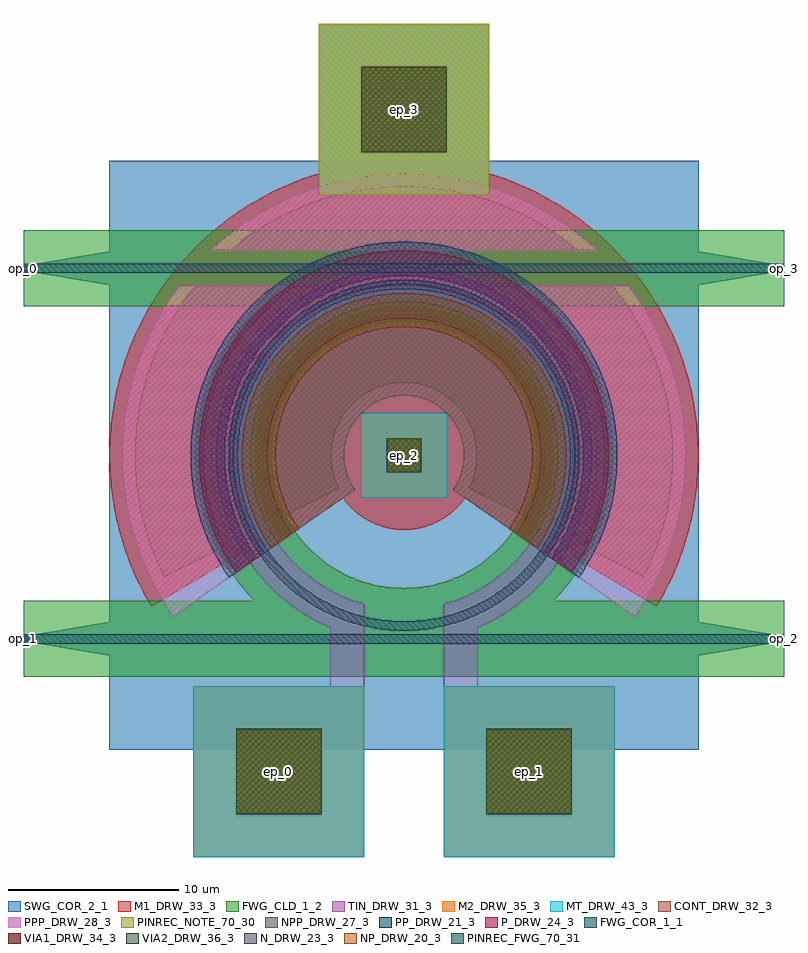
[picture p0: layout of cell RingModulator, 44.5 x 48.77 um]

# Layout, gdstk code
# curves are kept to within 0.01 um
import gdstk
lib = gdstk.Library(unit=1e-6, precision=1e-09)
def R(c, l, rs):  # rectangles x0, y0, x1, y1
    for r in rs: c.add(gdstk.rectangle(r[:2], r[2:], *l))
def P(c, l, *ps):  # polygons
    for p in ps: c.add(gdstk.Polygon(p, *l))
FWG_COR_1_1 = (1, 1)
FWG_CLD_1_2 = (1, 2)
SWG_COR_2_1 = (2, 1)
NP_DRW_20_3 = (20, 3)
PP_DRW_21_3 = (21, 3)
N_DRW_23_3 = (23, 3)
P_DRW_24_3 = (24, 3)
NPP_DRW_27_3 = (27, 3)
PPP_DRW_28_3 = (28, 3)
TIN_DRW_31_3 = (31, 3)
CONT_DRW_32_3 = (32, 3)
M1_DRW_33_3 = (33, 3)
VIA1_DRW_34_3 = (34, 3)
M2_DRW_35_3 = (35, 3)
VIA2_DRW_36_3 = (36, 3)
MT_DRW_43_3 = (43, 3)
PINREC_NOTE_70_30 = (70, 30)
PINREC_FWG_70_31 = (70, 31)

ring = lib.new_cell('ring')
P(ring, FWG_COR_1_1, [(9.725,10.75),(9.688,11.598),(9.605,12.271),(9.476,12.938),(9.3,13.593),(9.079,14.235),(8.814,14.86),(8.506,15.465),(8.062,16.188),(7.663,16.737),(7.227,17.257),(6.756,17.746),(6.12,18.308),(5.578,18.716),(5.009,19.086),(4.263,19.491),(3.643,19.767),(3.005,19.999),(2.188,20.226),(1.521,20.355),(0.848,20.438),(0.17,20.474),(-0.509,20.462),(-1.185,20.403),(-2.022,20.262),(-2.681,20.098),(-3.326,19.889),(-4.11,19.564),(-4.715,19.256),(-5.297,18.906),(-5.853,18.517),(-6.38,18.09),(-6.996,17.506),(-7.34,17.13),(-7.767,16.603),(-8.156,16.047),(-8.506,15.465),(-8.814,14.86),(-9.017,14.393),(-9.249,13.755),(-9.394,13.267),(-9.546,12.606),(-9.63,12.103),(-9.688,11.598),(-9.724,10.92),(-9.712,10.241),(-9.672,9.733),(-9.577,9.061),(-9.476,8.562),(-9.348,8.069),(-9.139,7.424),(-8.952,6.95),(-8.665,6.335),(-8.336,5.741),(-8.062,5.312),(-7.767,4.897),(-7.34,4.37),(-6.996,3.994),(-6.507,3.523),(-6.12,3.192),(-5.578,2.784),(-5.009,2.414),(-4.566,2.163),(-4.11,1.936),(-3.485,1.671),(-3.005,1.501),(-2.353,1.314),(-1.856,1.204),(-1.185,1.097),(-0.678,1.049),(-0.17,1.026),(0.509,1.038),(1.017,1.078),(1.689,1.173),(2.188,1.274),(2.681,1.402),(3.326,1.611),(3.8,1.798),(4.263,2.009),(4.715,2.244),(5.297,2.594),(5.716,2.882),(6.12,3.192),(6.507,3.523),(6.996,3.994),(7.34,4.37),(7.767,4.897),(8.062,5.312),(8.336,5.741),(8.665,6.335),(8.952,6.95),(9.195,7.584),(9.394,8.233),(9.546,8.894),(9.653,9.565),(9.712,10.241),(9.725,10.75),(10.275,10.75),(10.261,10.212),(10.219,9.676),(10.086,8.789),(9.877,7.918),(9.715,7.405),(9.527,6.901),(9.312,6.408),(9.072,5.926),(8.807,5.458),(8.518,5.004),(8.206,4.566),(7.871,4.145),(7.266,3.484),(6.605,2.879),(6.184,2.544),(5.746,2.232),(5.292,1.943),(4.824,1.678),(4.342,1.438),(3.849,1.223),(3.345,1.035),(2.832,0.873),(1.961,0.664),(1.074,0.531),(0.538,0.489),(0,0.475),(-0.538,0.489),(-1.074,0.531),(-1.961,0.664),(-2.832,0.873),(-3.345,1.035),(-3.849,1.223),(-4.342,1.438),(-4.824,1.678),(-5.292,1.943),(-5.746,2.232),(-6.184,2.544),(-6.605,2.879),(-7.266,3.484),(-7.871,4.145),(-8.206,4.566),(-8.518,5.004),(-8.807,5.458),(-9.072,5.926),(-9.312,6.408),(-9.527,6.901),(-9.715,7.405),(-9.877,7.918),(-10.086,8.789),(-10.219,9.676),(-10.261,10.212),(-10.275,10.75),(-10.261,11.288),(-10.219,11.824),(-10.086,12.711),(-9.877,13.582),(-9.715,14.095),(-9.527,14.599),(-9.312,15.092),(-9.072,15.574),(-8.807,16.042),(-8.518,16.496),(-8.206,16.934),(-7.871,17.355),(-7.266,18.016),(-6.605,18.621),(-6.184,18.956),(-5.746,19.268),(-5.292,19.557),(-4.824,19.822),(-4.342,20.062),(-3.849,20.277),(-3.345,20.465),(-2.832,20.627),(-1.961,20.836),(-1.074,20.969),(-0.538,21.011),(0,21.025),(0.538,21.011),(1.074,20.969),(1.607,20.899),(2.136,20.8),(2.659,20.675),(3.175,20.522),(3.682,20.343),(4.179,20.137),(4.981,19.737),(5.445,19.464),(5.894,19.167),(6.326,18.847),(6.741,18.505),(7.138,18.141),(7.515,17.758),(7.871,17.355),(8.206,16.934),(8.518,16.496),(8.898,15.888),(9.155,15.415),(9.387,14.929),(9.593,14.432),(9.826,13.754),(10.012,13.061),(10.149,12.357),(10.236,11.646),(10.275,10.75)])
P(ring, FWG_CLD_1_2, [(7.775,10.75),(7.756,11.292),(7.679,11.966),(7.576,12.499),(7.394,13.153),(7.209,13.663),(6.928,14.28),(6.594,14.87),(6.209,15.429),(5.868,15.851),(5.401,16.343),(4.893,16.792),(4.348,17.196),(3.769,17.55),(3.286,17.796),(2.786,18.009),(2.143,18.224),(1.484,18.382),(0.948,18.467),(0.271,18.52),(-0.271,18.52),(-0.948,18.467),(-1.484,18.382),(-2.143,18.224),(-2.786,18.009),(-3.408,17.738),(-3.887,17.483),(-4.348,17.196),(-4.893,16.792),(-5.401,16.343),(-5.778,15.952),(-6.127,15.537),(-6.521,14.985),(-6.8,14.519),(-6.988,14.158),(-7.209,13.663),(-7.351,13.281),(-7.474,12.893),(-7.605,12.366),(-7.679,11.966),(-7.745,11.428),(-7.774,10.886),(-7.77,10.479),(-7.745,10.072),(-7.679,9.534),(-7.576,9.001),(-7.474,8.607),(-7.209,7.837),(-6.988,7.342),(-6.8,6.981),(-6.521,6.515),(-6.29,6.18),(-5.956,5.752),(-5.686,5.448),(-5.401,5.157),(-4.998,4.794),(-4.57,4.46),(-4.235,4.229),(-3.53,3.822),(-3.038,3.593),(-2.659,3.444),(-2.143,3.276),(-1.749,3.174),(-1.35,3.093),(-0.948,3.033),(-0.542,2.994),(0,2.975),(0.542,2.994),(0.948,3.033),(1.35,3.093),(1.749,3.174),(2.143,3.276),(2.659,3.444),(3.038,3.593),(3.408,3.762),(3.769,3.95),(4.12,4.156),(4.46,4.381),(4.787,4.623),(5.101,4.882),(5.498,5.252),(5.778,5.548),(6.042,5.857),(6.29,6.18),(6.521,6.515),(6.8,6.981),(6.988,7.342),(7.157,7.712),(7.306,8.091),(7.474,8.607),(7.576,9.001),(7.657,9.4),(7.717,9.802),(7.756,10.208),(7.775,10.75),(12.225,10.75),(12.218,10.323),(12.179,9.685),(12.106,9.049),(12,8.417),(11.912,8),(11.752,7.38),(11.559,6.77),(11.335,6.17),(11.08,5.583),(10.893,5.2),(10.587,4.637),(10.253,4.092),(9.89,3.564),(9.501,3.057),(9.085,2.57),(8.644,2.106),(8.18,1.665),(7.693,1.249),(7.186,0.86),(6.658,0.497),(6.113,0.163),(5.55,-0.143),(5.167,-0.33),(4.58,-0.585),(3.98,-0.809),(3.37,-1.002),(2.75,-1.162),(2.333,-1.25),(1.701,-1.356),(1.065,-1.429),(0.427,-1.468),(0,-1.475),(-0.427,-1.468),(-1.065,-1.429),(-1.701,-1.356),(-2.333,-1.25),(-2.75,-1.162),(-3.37,-1.002),(-3.98,-0.809),(-4.58,-0.585),(-5.167,-0.33),(-5.55,-0.143),(-6.113,0.163),(-6.658,0.497),(-7.186,0.86),(-7.693,1.249),(-8.18,1.665),(-8.644,2.106),(-9.085,2.57),(-9.501,3.057),(-9.89,3.564),(-10.253,4.092),(-10.587,4.637),(-10.893,5.2),(-11.08,5.583),(-11.335,6.17),(-11.559,6.77),(-11.752,7.38),(-11.912,8),(-12,8.417),(-12.106,9.049),(-12.179,9.685),(-12.218,10.323),(-12.225,10.75),(-12.218,11.177),(-12.179,11.815),(-12.106,12.451),(-12,13.083),(-11.912,13.5),(-11.752,14.12),(-11.559,14.73),(-11.335,15.33),(-11.08,15.917),(-10.893,16.3),(-10.587,16.863),(-10.253,17.408),(-9.89,17.936),(-9.501,18.443),(-9.085,18.93),(-8.644,19.394),(-8.18,19.835),(-7.693,20.251),(-7.186,20.64),(-6.658,21.003),(-6.113,21.337),(-5.55,21.643),(-5.167,21.83),(-4.58,22.085),(-3.98,22.309),(-3.37,22.502),(-2.75,22.662),(-2.333,22.75),(-1.701,22.856),(-1.065,22.929),(-0.427,22.968),(0,22.975),(0.853,22.945),(1.49,22.884),(2.333,22.75),(3.164,22.559),(3.778,22.377),(4.58,22.085),(5.167,21.83),(5.927,21.442),(6.658,21.003),(7.186,20.64),(7.858,20.115),(8.337,19.691),(8.794,19.242),(9.365,18.608),(9.89,17.936),(10.253,17.408),(10.692,16.677),(11.08,15.917),(11.335,15.33),(11.488,14.931),(11.752,14.12),(11.958,13.292),(12.106,12.451),(12.195,11.603),(12.225,10.75)])

bus = lib.new_cell('bus')
R(bus, FWG_COR_1_1, [(-22.25,-0.275,22.25,0.275)])
P(bus, FWG_CLD_1_2, [(-22.25,2.225),(22.25,2.225),(22.25,0.275),(22.25,-0.275),(22.25,-2.225),(-22.25,-2.225),(-22.25,-0.275),(-22.25,0.275)])
R(bus, PINREC_FWG_70_31, [(-22.25,-0.275,-21.95,0.275), (21.95,-0.275,22.25,0.275)])
bus.add(gdstk.Label('op_0', (-22.25,0), layer=70, texttype=41))
bus.add(gdstk.Label('op_1', (22.25,0), layer=70, texttype=41))

monitor = lib.new_cell('monitor')
R(monitor, FWG_COR_1_1, [(-22.25,21.425,22.25,21.975)])
P(monitor, FWG_CLD_1_2, [(-22.25,23.925),(22.25,23.925),(22.25,21.975),(22.25,21.425),(22.25,19.475),(-22.25,19.475),(-22.25,21.425),(-22.25,21.975)])
R(monitor, PINREC_FWG_70_31, [(-22.25,21.425,-21.95,21.975), (21.95,21.425,22.25,21.975)])
monitor.add(gdstk.Label('op_0', (-22.25,21.7), layer=70, texttype=41))
monitor.add(gdstk.Label('op_1', (22.25,21.7), layer=70, texttype=41))

ringfilter = lib.new_cell('RingFilter')
R(ringfilter, SWG_COR_2_1, [(-17.25,-6.5,17.25,28)])
P(ringfilter, SWG_COR_2_1, [(17.25,1),(22.25,0.15),(22.25,-0.15),(17.25,-1)],
  [(17.25,22.7),(22.25,21.85),(22.25,21.55),(17.25,20.7)],
  [(-22.25,21.85),(-17.25,22.7),(-17.25,20.7),(-22.25,21.55)],
  [(-22.25,0.15),(-17.25,1),(-17.25,-1),(-22.25,-0.15)])
R(ringfilter, TIN_DRW_31_3, [(-12.329,-12.775,-2.329,-2.775), (2.329,-12.775,12.329,-2.775), (-4.329,-2.775,-2.329,2.057), (2.329,-2.775,4.329,2.057)])
P(ringfilter, TIN_DRW_31_3, [(2.329,2.057),(2.93,2.24),(3.661,2.528),(4.363,2.878),(4.902,3.202),(5.416,3.562),(5.905,3.958),(6.474,4.498),(6.894,4.965),(7.281,5.46),(7.632,5.981),(8.019,6.664),(8.285,7.233),(8.51,7.82),(8.733,8.573),(8.889,9.342),(8.966,9.966),(8.999,10.593),(8.978,11.378),(8.889,12.158),(8.769,12.775),(8.607,13.381),(8.345,14.121),(8.089,14.695),(7.794,15.25),(7.461,15.783),(6.994,16.414),(6.474,17.002),(6.022,17.438),(5.416,17.938),(4.902,18.298),(4.363,18.622),(3.661,18.972),(2.93,19.26),(2.481,19.401),(2.025,19.519),(1.563,19.613),(1.097,19.683),(0.628,19.728),(0.157,19.749),(-0.314,19.744),(-0.784,19.716),(-1.253,19.662),(-1.717,19.585),(-2.177,19.483),(-2.631,19.357),(-3.078,19.207),(-3.517,19.035),(-3.945,18.839),(-4.363,18.622),(-4.769,18.382),(-5.162,18.122),(-5.541,17.842),(-5.905,17.542),(-6.252,17.224),(-6.582,16.888),(-6.894,16.535),(-7.188,16.166),(-7.461,15.783),(-7.714,15.385),(-7.946,14.975),(-8.157,14.554),(-8.345,14.121),(-8.51,13.68),(-8.733,12.927),(-8.889,12.158),(-8.951,11.691),(-8.988,11.221),(-8.994,10.436),(-8.933,9.653),(-8.863,9.187),(-8.769,8.725),(-8.559,7.969),(-8.285,7.233),(-8.089,6.805),(-7.872,6.387),(-7.548,5.848),(-7.281,5.46),(-6.994,5.086),(-6.582,4.612),(-6.252,4.276),(-5.905,3.958),(-5.416,3.562),(-5.033,3.289),(-4.635,3.036),(-4.225,2.804),(-3.804,2.593),(-3.371,2.405),(-2.93,2.24),(-2.329,2.057),(-2.847,0.125),(-3.581,0.349),(-4.298,0.624),(-4.822,0.863),(-5.5,1.224),(-5.991,1.525),(-6.62,1.965),(-7.217,2.448),(-7.778,2.972),(-8.302,3.533),(-8.785,4.13),(-9.225,4.759),(-9.526,5.25),(-9.887,5.928),(-10.126,6.452),(-10.401,7.169),(-10.625,7.903),(-10.76,8.463),(-10.865,9.029),(-10.94,9.6),(-10.985,10.174),(-11,10.75),(-10.985,11.326),(-10.94,11.9),(-10.893,12.281),(-10.798,12.849),(-10.718,13.224),(-10.574,13.782),(-10.401,14.331),(-10.199,14.871),(-10.049,15.224),(-9.801,15.744),(-9.526,16.25),(-9.329,16.579),(-9.011,17.059),(-8.668,17.522),(-8.302,17.967),(-7.913,18.391),(-7.502,18.795),(-7.071,19.177),(-6.62,19.535),(-5.829,20.079),(-5.333,20.371),(-4.822,20.637),(-4.298,20.876),(-3.762,21.087),(-3.399,21.212),(-2.847,21.375),(-2.287,21.51),(-1.721,21.615),(-1.15,21.69),(-0.576,21.735),(0,21.75),(0.576,21.735),(1.15,21.69),(1.531,21.643),(2.099,21.548),(2.474,21.468),(3.032,21.324),(3.581,21.151),(4.121,20.949),(4.474,20.799),(4.994,20.551),(5.5,20.276),(5.829,20.079),(6.309,19.761),(6.772,19.418),(7.217,19.052),(7.641,18.663),(8.045,18.252),(8.427,17.821),(8.785,17.37),(9.329,16.579),(9.621,16.083),(9.887,15.572),(10.126,15.048),(10.337,14.512),(10.462,14.149),(10.625,13.597),(10.76,13.037),(10.865,12.471),(10.94,11.9),(10.993,11.134),(10.993,10.366),(10.958,9.791),(10.893,9.219),(10.798,8.651),(10.673,8.089),(10.519,7.534),(10.337,6.988),(10.126,6.452),(9.887,5.928),(9.621,5.417),(9.329,4.921),(8.899,4.284),(8.427,3.679),(8.045,3.248),(7.778,2.972),(7.502,2.705),(7.071,2.323),(6.466,1.851),(5.829,1.421),(5.333,1.129),(4.994,0.949),(4.298,0.624),(3.581,0.349),(2.847,0.125)])
R(ringfilter, VIA1_DRW_34_3, [(-9.829,-10.275,-4.829,-5.275), (4.829,-10.275,9.829,-5.275)])
R(ringfilter, M2_DRW_35_3, [(-12.329,-12.775,-2.329,-2.775), (2.329,-12.775,12.329,-2.775)])
R(ringfilter, VIA2_DRW_36_3, [(-9.829,-10.275,-4.829,-5.275), (4.829,-10.275,9.829,-5.275)])
R(ringfilter, MT_DRW_43_3, [(-12.329,-12.775,-2.329,-2.775), (2.329,-12.775,12.329,-2.775)])
R(ringfilter, PINREC_NOTE_70_30, [(-9.829,-10.275,-4.829,-5.275), (4.829,-10.275,9.829,-5.275)])
R(ringfilter, PINREC_FWG_70_31, [(-22.25,-0.275,-21.95,0.275), (21.95,-0.275,22.25,0.275), (-22.25,21.425,-21.95,21.975), (21.95,21.425,22.25,21.975)])
ringfilter.add(gdstk.Reference(ring, (0,0)))
ringfilter.add(gdstk.Reference(bus, (0,0)))
ringfilter.add(gdstk.Reference(monitor, (0,0)))
ringfilter.add(gdstk.Label('op_0', (-22.25,21.7), layer=70, texttype=41))
ringfilter.add(gdstk.Label('op_1', (-22.25,0), layer=70, texttype=41))
ringfilter.add(gdstk.Label('op_2', (22.25,0), layer=70, texttype=41))
ringfilter.add(gdstk.Label('op_3', (22.25,21.7), layer=70, texttype=41))
ringfilter.add(gdstk.Label('ep_0', (-7.329,-7.775), layer=70, texttype=41))
ringfilter.add(gdstk.Label('ep_1', (7.329,-7.775), layer=70, texttype=41))

ringmodulator = lib.new_cell('RingModulator')
P(ringmodulator, NP_DRW_20_3, [(6.144,6.448),(6.429,6.887),(6.683,7.345),(6.904,7.82),(7.091,8.308),(7.244,8.809),(7.362,9.319),(7.444,9.836),(7.49,10.357),(7.499,10.881),(7.471,11.404),(7.408,11.923),(7.308,12.437),(7.172,12.943),(7.002,13.438),(6.797,13.92),(6.56,14.386),(6.29,14.835),(5.99,15.264),(5.66,15.67),(5.303,16.053),(4.92,16.41),(4.514,16.74),(4.085,17.04),(3.636,17.31),(3.17,17.547),(2.688,17.752),(2.193,17.922),(1.687,18.058),(1.173,18.158),(0.523,18.232),(0,18.25),(-0.523,18.232),(-1.044,18.177),(-1.431,18.112),(-1.814,18.027),(-2.318,17.883),(-2.81,17.704),(-3.288,17.491),(-3.636,17.31),(-4.085,17.04),(-4.514,16.74),(-4.821,16.495),(-5.21,16.145),(-5.485,15.865),(-5.829,15.47),(-6.068,15.158),(-6.29,14.835),(-6.56,14.386),(-6.797,13.92),(-7.002,13.438),(-7.172,12.943),(-7.308,12.437),(-7.408,11.923),(-7.471,11.404),(-7.499,10.881),(-7.49,10.357),(-7.444,9.836),(-7.362,9.319),(-7.244,8.809),(-7.091,8.308),(-6.904,7.82),(-6.683,7.345),(-6.429,6.887),(-6.144,6.448),(-7.782,5.301),(-8.143,5.857),(-8.539,6.585),(-8.869,7.345),(-9.085,7.972),(-9.257,8.613),(-9.408,9.428),(-9.477,10.087),(-9.5,10.75),(-9.477,11.413),(-9.408,12.072),(-9.257,12.887),(-9.085,13.528),(-8.869,14.155),(-8.539,14.915),(-8.143,15.643),(-7.782,16.199),(-7.486,16.599),(-7.17,16.983),(-6.599,17.584),(-5.979,18.133),(-5.584,18.436),(-5.174,18.717),(-4.75,18.977),(-4.313,19.215),(-3.864,19.429),(-3.405,19.619),(-2.619,19.882),(-2.137,20.007),(-1.65,20.106),(-1.158,20.179),(-0.663,20.227),(0.166,20.249),(0.663,20.227),(1.158,20.179),(1.65,20.106),(2.137,20.007),(2.936,19.785),(3.405,19.619),(3.864,19.429),(4.606,19.059),(5.034,18.806),(5.449,18.532),(5.849,18.236),(6.233,17.92),(6.718,17.468),(7.06,17.107),(7.383,16.729),(7.686,16.334),(7.967,15.924),(8.309,15.356),(8.539,14.915),(8.745,14.462),(8.927,13.999),(9.132,13.369),(9.257,12.887),(9.356,12.4),(9.448,11.743),(9.487,11.247),(9.499,10.584),(9.448,9.757),(9.325,8.937),(9.132,8.131),(8.869,7.345),(8.539,6.585),(8.143,5.857),(7.782,5.301)])
P(ringmodulator, PP_DRW_21_3, [(8.601,4.727),(9,5.342),(9.356,5.983),(9.665,6.647),(9.928,7.332),(10.142,8.032),(10.307,8.747),(10.422,9.47),(10.486,10.2),(10.498,10.933),(10.46,11.665),(10.371,12.393),(10.231,13.112),(10.041,13.82),(9.803,14.513),(9.516,15.187),(9.183,15.84),(8.806,16.469),(8.386,17.069),(7.924,17.639),(7.425,18.175),(6.889,18.674),(6.319,19.136),(5.719,19.556),(5.09,19.933),(4.437,20.266),(3.763,20.553),(3.07,20.791),(2.362,20.981),(1.643,21.121),(0.915,21.21),(0.183,21.248),(-0.55,21.236),(-1.28,21.172),(-2.003,21.057),(-2.718,20.892),(-3.245,20.736),(-3.763,20.553),(-4.437,20.266),(-4.929,20.021),(-5.564,19.654),(-6.172,19.245),(-6.608,18.91),(-7.026,18.553),(-7.553,18.044),(-8.043,17.499),(-8.495,16.922),(-8.806,16.469),(-9.183,15.84),(-9.516,15.187),(-9.803,14.513),(-10.041,13.82),(-10.231,13.112),(-10.371,12.393),(-10.46,11.665),(-10.498,10.933),(-10.486,10.2),(-10.422,9.47),(-10.307,8.747),(-10.142,8.032),(-9.928,7.332),(-9.665,6.647),(-9.356,5.983),(-9,5.342),(-8.601,4.727),(-10.239,3.58),(-10.715,4.312),(-10.933,4.69),(-11.235,5.27),(-11.419,5.666),(-11.67,6.27),(-11.954,7.095),(-12.18,7.938),(-12.346,8.795),(-12.432,9.443),(-12.47,9.878),(-12.5,10.75),(-12.47,11.622),(-12.432,12.057),(-12.346,12.705),(-12.18,13.562),(-11.954,14.405),(-11.67,15.23),(-11.506,15.634),(-11.235,16.23),(-10.933,16.81),(-10.715,17.188),(-10.239,17.92),(-9.85,18.446),(-9.434,18.951),(-8.992,19.433),(-8.525,19.892),(-8.035,20.326),(-7.523,20.733),(-6.99,21.113),(-6.624,21.351),(-6.06,21.683),(-5.675,21.888),(-5.084,22.169),(-4.48,22.42),(-4.07,22.569),(-3.445,22.766),(-2.812,22.93),(-2.171,23.06),(-1.523,23.157),(-0.872,23.22),(-0.218,23.248),(0.218,23.248),(0.872,23.22),(1.523,23.157),(2.171,23.06),(2.812,22.93),(3.445,22.766),(4.07,22.569),(4.683,22.34),(5.084,22.169),(5.675,21.888),(6.06,21.683),(6.624,21.351),(7.17,20.989),(7.696,20.6),(8.201,20.184),(8.683,19.742),(9.142,19.275),(9.576,18.785),(9.983,18.273),(10.363,17.74),(10.825,17),(11.138,16.425),(11.419,15.834),(11.67,15.23),(11.954,14.405),(12.129,13.774),(12.27,13.135),(12.378,12.49),(12.452,11.839),(12.498,10.968),(12.498,10.532),(12.47,9.878),(12.378,9.01),(12.227,8.151),(12.016,7.305),(11.746,6.475),(11.419,5.666),(11.037,4.882),(10.715,4.312),(10.239,3.58)])
P(ringmodulator, N_DRW_23_3, [(6.553,6.161),(6.857,6.63),(7.128,7.118),(7.364,7.624),(7.564,8.145),(7.727,8.679),(7.853,9.224),(7.94,9.775),(7.989,10.331),(7.999,10.89),(7.97,11.447),(7.901,12.001),(7.795,12.55),(7.65,13.089),(7.469,13.617),(7.19,14.257),(6.928,14.75),(6.632,15.224),(6.304,15.675),(5.945,16.103),(5.557,16.505),(5.142,16.878),(4.702,17.222),(4.239,17.534),(3.756,17.814),(3.254,18.058),(2.736,18.268),(2.205,18.44),(1.526,18.603),(0.975,18.69),(0.419,18.739),(-0.14,18.749),(-0.697,18.72),(-1.251,18.651),(-1.8,18.545),(-2.205,18.44),(-2.736,18.268),(-3.126,18.114),(-3.632,17.878),(-4,17.678),(-4.474,17.382),(-4.925,17.054),(-5.248,16.788),(-5.657,16.407),(-5.945,16.103),(-6.217,15.785),(-6.553,15.339),(-6.784,14.989),(-7.064,14.506),(-7.308,14.004),(-7.518,13.486),(-7.69,12.955),(-7.795,12.55),(-7.901,12.001),(-7.97,11.447),(-7.999,10.89),(-7.989,10.331),(-7.94,9.775),(-7.853,9.224),(-7.727,8.679),(-7.564,8.145),(-7.364,7.624),(-7.128,7.118),(-6.857,6.63),(-6.553,6.161),(-8.192,5.014),(-8.572,5.6),(-8.988,6.366),(-9.272,7.004),(-9.511,7.66),(-9.744,8.5),(-9.877,9.186),(-9.976,10.052),(-10,10.75),(-9.976,11.448),(-9.877,12.314),(-9.744,13),(-9.511,13.84),(-9.272,14.496),(-8.988,15.134),(-8.572,15.9),(-8.192,16.486),(-7.88,16.907),(-7.547,17.311),(-7.193,17.697),(-6.82,18.064),(-6.157,18.63),(-5.736,18.942),(-5.299,19.231),(-4.848,19.496),(-4.384,19.738),(-3.584,20.086),(-2.756,20.363),(-2.25,20.494),(-1.736,20.598),(-1.219,20.675),(-0.698,20.726),(0.175,20.749),(1.045,20.695),(1.564,20.627),(2.079,20.532),(2.588,20.409),(3.09,20.261),(3.907,19.955),(4.384,19.738),(4.848,19.496),(5.299,19.231),(5.736,18.942),(6.157,18.63),(6.561,18.297),(7.071,17.821),(7.431,17.441),(7.88,16.907),(8.192,16.486),(8.481,16.049),(8.746,15.598),(8.988,15.134),(9.272,14.496),(9.455,14.006),(9.613,13.506),(9.744,13),(9.848,12.486),(9.925,11.969),(9.976,11.448),(9.999,10.575),(9.962,9.878),(9.877,9.186),(9.703,8.331),(9.511,7.66),(9.205,6.843),(8.83,6.055),(8.387,5.304),(8.192,5.014)])
P(ringmodulator, P_DRW_24_3, [(8.192,5.014),(8.572,5.6),(8.988,6.366),(9.272,7.004),(9.511,7.66),(9.703,8.331),(9.848,9.014),(9.945,9.705),(9.994,10.401),(9.994,11.099),(9.945,11.795),(9.848,12.486),(9.703,13.169),(9.511,13.84),(9.272,14.496),(8.988,15.134),(8.66,15.75),(8.29,16.342),(7.88,16.907),(7.431,17.441),(6.947,17.943),(6.428,18.41),(5.878,18.84),(5.299,19.23),(4.695,19.579),(4.067,19.885),(3.42,20.147),(2.756,20.363),(2.079,20.531),(1.392,20.653),(0.698,20.726),(0,20.75),(-0.698,20.726),(-1.392,20.653),(-1.908,20.566),(-2.419,20.453),(-3.09,20.261),(-3.746,20.022),(-4.384,19.738),(-5,19.41),(-5.446,19.137),(-5.878,18.84),(-6.428,18.41),(-6.82,18.064),(-7.314,17.57),(-7.66,17.178),(-8.09,16.628),(-8.48,16.049),(-8.829,15.445),(-9.135,14.817),(-9.397,14.17),(-9.613,13.506),(-9.781,12.829),(-9.903,12.142),(-9.976,11.448),(-10,10.75),(-9.976,10.052),(-9.903,9.358),(-9.781,8.671),(-9.613,7.994),(-9.397,7.33),(-9.205,6.843),(-8.91,6.21),(-8.572,5.6),(-8.192,5.014),(-9.83,3.867),(-10.286,4.57),(-10.495,4.932),(-10.786,5.49),(-11.126,6.255),(-11.413,7.042),(-11.644,7.847),(-11.78,8.46),(-11.852,8.873),(-11.911,9.288),(-11.971,9.913),(-12,10.75),(-11.971,11.587),(-11.911,12.212),(-11.852,12.627),(-11.78,13.04),(-11.644,13.653),(-11.413,14.458),(-11.126,15.245),(-10.786,16.01),(-10.595,16.384),(-10.286,16.93),(-9.83,17.633),(-9.456,18.138),(-9.057,18.623),(-8.632,19.086),(-8.336,19.382),(-7.873,19.807),(-7.388,20.206),(-6.883,20.58),(-6.359,20.927),(-5.818,21.245),(-5.26,21.536),(-4.881,21.713),(-4.3,21.953),(-3.708,22.163),(-3.308,22.285),(-2.699,22.442),(-2.084,22.568),(-1.462,22.661),(-0.837,22.721),(-0.419,22.743),(0.209,22.748),(0.837,22.721),(1.462,22.661),(2.084,22.568),(2.495,22.488),(3.106,22.341),(3.708,22.163),(4.3,21.953),(4.881,21.713),(5.26,21.536),(5.818,21.245),(6.359,20.927),(6.883,20.58),(7.388,20.206),(7.873,19.807),(8.336,19.382),(8.918,18.78),(9.326,18.302),(9.708,17.803),(10.064,17.286),(10.392,16.75),(10.692,16.198),(10.963,15.631),(11.203,15.05),(11.413,14.458),(11.644,13.653),(11.78,13.04),(11.883,12.42),(11.954,11.796),(11.998,10.959),(11.984,10.122),(11.911,9.288),(11.818,8.666),(11.738,8.255),(11.644,7.847),(11.476,7.242),(11.203,6.45),(10.876,5.679),(10.495,4.932),(10.177,4.391),(9.83,3.867)])
P(ringmodulator, NPP_DRW_27_3, [(2.867,8.742),(3,8.947),(3.146,9.216),(3.245,9.439),(3.347,9.727),(3.436,10.082),(3.474,10.323),(3.498,10.628),(3.498,10.872),(3.481,11.116),(3.436,11.418),(3.381,11.656),(3.289,11.947),(3.172,12.229),(3.061,12.447),(2.795,12.856),(2.601,13.092),(2.431,13.268),(2.203,13.47),(2.007,13.617),(1.803,13.75),(1.534,13.896),(1.082,14.079),(0.847,14.146),(0.548,14.207),(0.305,14.237),(0,14.25),(-0.305,14.237),(-0.548,14.207),(-0.847,14.146),(-1.082,14.079),(-1.479,13.922),(-1.803,13.75),(-2.155,13.508),(-2.475,13.225),(-2.758,12.905),(-3,12.553),(-3.172,12.229),(-3.329,11.832),(-3.436,11.418),(-3.487,11.055),(-3.498,10.628),(-3.457,10.202),(-3.381,9.844),(-3.222,9.382),(-3.061,9.053),(-2.867,8.742),(-7.372,5.588),(-7.715,6.115),(-8.019,6.664),(-8.285,7.233),(-8.56,7.969),(-8.733,8.573),(-8.889,9.342),(-8.966,9.966),(-9,10.75),(-8.966,11.534),(-8.889,12.158),(-8.733,12.927),(-8.56,13.531),(-8.285,14.267),(-8.019,14.836),(-7.715,15.385),(-7.372,15.912),(-7.092,16.291),(-6.792,16.655),(-6.252,17.224),(-5.905,17.542),(-5.541,17.842),(-5.162,18.122),(-4.769,18.383),(-4.086,18.769),(-3.661,18.972),(-3.225,19.152),(-2.481,19.401),(-2.025,19.519),(-1.563,19.613),(-1.097,19.683),(-0.628,19.728),(-0.157,19.749),(0.314,19.745),(0.784,19.716),(1.253,19.663),(2.025,19.519),(2.781,19.31),(3.225,19.152),(3.661,18.972),(4.363,18.622),(4.769,18.383),(5.162,18.122),(5.664,17.744),(6.252,17.224),(6.792,16.655),(7.188,16.166),(7.633,15.519),(7.947,14.975),(8.222,14.411),(8.457,13.828),(8.651,13.231),(8.835,12.467),(8.933,11.847),(8.988,11.221),(8.995,10.436),(8.951,9.809),(8.863,9.187),(8.733,8.573),(8.51,7.82),(8.345,7.379),(8.157,6.946),(7.794,6.25),(7.372,5.588)])
P(ringmodulator, PPP_DRW_28_3, [(9.046,4.491),(9.328,4.921),(9.621,5.417),(9.887,5.928),(10.199,6.629),(10.401,7.169),(10.574,7.718),(10.718,8.276),(10.833,8.84),(10.94,9.6),(10.985,10.174),(11,10.75),(10.985,11.326),(10.94,11.9),(10.864,12.471),(10.76,13.037),(10.625,13.597),(10.462,14.149),(10.269,14.692),(10.049,15.224),(9.801,15.744),(9.526,16.25),(9.225,16.741),(8.899,17.216),(8.426,17.821),(8.045,18.252),(7.641,18.663),(7.217,19.052),(6.772,19.418),(6.309,19.761),(5.829,20.078),(5.333,20.371),(4.742,20.675),(13.181,20.675),(13.679,19.977),(13.993,19.494),(14.431,18.749),(14.83,17.983),(15.188,17.197),(15.505,16.393),(15.693,15.849),(15.938,15.021),(16.14,14.181),(16.297,13.331),(16.41,12.475),(16.477,11.614),(16.5,10.75),(16.477,9.886),(16.41,9.025),(16.297,8.169),(16.14,7.319),(15.938,6.479),(15.693,5.651),(15.404,4.837),(15.074,4.039),(14.702,3.259),(14.29,2.5),(13.838,1.763),(13.516,1.286),(9.011,4.441)],
  [(-4.822,20.637),(-5.333,20.371),(-5.991,19.975),(-6.466,19.649),(-6.922,19.299),(-7.36,18.925),(-7.778,18.528),(-8.175,18.11),(-8.549,17.672),(-8.899,17.216),(-9.225,16.741),(-9.526,16.25),(-9.801,15.744),(-10.049,15.224),(-10.269,14.692),(-10.462,14.149),(-10.625,13.597),(-10.76,13.037),(-10.864,12.471),(-10.94,11.9),(-10.985,11.326),(-11,10.75),(-10.985,10.174),(-10.94,9.6),(-10.833,8.84),(-10.718,8.276),(-10.574,7.718),(-10.401,7.169),(-10.199,6.629),(-9.887,5.928),(-9.621,5.417),(-9.328,4.921),(-9.011,4.441),(-13.516,1.286),(-13.838,1.763),(-14.143,2.252),(-14.702,3.259),(-15.074,4.039),(-15.299,4.569),(-15.505,5.107),(-15.693,5.651),(-15.861,6.202),(-16.077,7.038),(-16.197,7.602),(-16.297,8.169),(-16.41,9.025),(-16.46,9.599),(-16.49,10.174),(-16.498,11.038),(-16.437,12.188),(-16.377,12.761),(-16.297,13.331),(-16.14,14.181),(-15.861,15.298),(-15.693,15.849),(-15.505,16.393),(-15.299,16.931),(-15.074,17.461),(-14.702,18.241),(-14.29,19),(-13.838,19.737),(-13.181,20.675),(-4.742,20.675)],
  [(-11.253,22.817),(-10.606,23.39),(-9.93,23.928),(-9.227,24.429),(-8.744,24.743),(-8.25,25.04),(-7.491,25.452),(-6.711,25.824),(-6.181,26.049),(-5.372,26.351),(-4.548,26.611),(-3.992,26.76),(-3.148,26.947),(-2.296,27.09),(-1.725,27.16),(-0.864,27.227),(0,27.25),(0.864,27.227),(1.725,27.16),(2.296,27.09),(3.148,26.947),(3.992,26.76),(4.548,26.611),(5.372,26.351),(6.181,26.049),(6.711,25.824),(7.491,25.452),(8.25,25.04),(8.987,24.588),(9.699,24.099),(10.158,23.752),(10.825,23.203),(11.35,22.725),(-11.35,22.725)])
P(ringmodulator, CONT_DRW_32_3, [(3.787,8.821),(3.994,9.296),(4.105,9.65),(4.172,9.939),(4.24,10.454),(4.24,11.046),(4.209,11.341),(4.157,11.634),(3.994,12.204),(3.882,12.479),(3.752,12.745),(3.604,13.002),(3.438,13.248),(3.256,13.482),(3.057,13.702),(2.675,14.053),(2.189,14.393),(1.929,14.537),(1.661,14.662),(1.454,14.744),(1.1,14.855),(0.811,14.922),(0.518,14.968),(0.222,14.994),(-0.074,14.999),(-0.37,14.984),(-0.665,14.948),(-1.171,14.835),(-1.661,14.662),(-2.125,14.431),(-2.498,14.188),(-2.898,13.858),(-3.256,13.482),(-3.564,13.065),(-3.787,12.679),(-3.994,12.204),(-4.124,11.778),(-4.218,11.268),(-4.25,10.75),(-4.218,10.232),(-4.124,9.722),(-3.994,9.296),(-3.787,8.821),(-7.351,7.005),(-7.537,7.394),(-7.753,7.928),(-7.89,8.338),(-8.039,8.894),(-8.125,9.317),(-8.189,9.745),(-8.239,10.318),(-8.25,10.75),(-8.239,11.182),(-8.189,11.755),(-8.125,12.183),(-8.039,12.606),(-7.89,13.162),(-7.753,13.572),(-7.537,14.106),(-7.351,14.495),(-7.145,14.875),(-6.919,15.243),(-6.674,15.599),(-6.412,15.942),(-6.131,16.27),(-5.834,16.584),(-5.303,17.07),(-4.965,17.339),(-4.613,17.59),(-4,17.966),(-3.356,18.287),(-2.957,18.452),(-2.549,18.596),(-1.856,18.789),(-1.433,18.875),(-1.005,18.939),(-0.575,18.98),(-0.144,18.999),(0.288,18.995),(0.719,18.969),(1.433,18.875),(1.856,18.789),(2.274,18.68),(2.957,18.452),(3.356,18.287),(3.745,18.101),(4.249,17.822),(4.732,17.508),(5.192,17.162),(5.627,16.784),(6.034,16.377),(6.412,15.942),(6.758,15.482),(7.072,14.999),(7.351,14.495),(7.594,13.974),(7.801,13.436),(7.969,12.885),(8.098,12.324),(8.189,11.755),(8.239,11.182),(8.25,10.75),(8.239,10.318),(8.189,9.745),(8.125,9.317),(8.039,8.894),(7.89,8.338),(7.753,7.928),(7.537,7.394),(7.351,7.005)],
  [(10.5,5.475),(10.734,5.971),(10.969,6.539),(11.11,6.925),(11.295,7.511),(11.449,8.107),(11.534,8.508),(11.636,9.115),(11.686,9.522),(11.734,10.135),(11.75,10.75),(11.734,11.365),(11.705,11.774),(11.636,12.385),(11.571,12.79),(11.449,13.393),(11.35,13.791),(11.237,14.185),(11.041,14.769),(10.816,15.341),(10.561,15.901),(10.375,16.266),(10.072,16.802),(9.741,17.32),(9.506,17.656),(9.259,17.984),(8.868,18.459),(8.452,18.912),(8.013,19.343),(7.709,19.618),(7.234,20.009),(6.739,20.375),(6.289,20.675),(12.229,20.675),(12.742,20.008),(13.209,19.328),(13.64,18.625),(13.906,18.144),(14.274,17.406),(14.603,16.65),(14.892,15.878),(15.14,15.091),(15.282,14.56),(15.461,13.755),(15.597,12.942),(15.664,12.396),(15.712,11.849),(15.748,11.025),(15.74,10.2),(15.69,9.377),(15.597,8.558),(15.461,7.745),(15.282,6.94),(15.14,6.409),(14.892,5.622),(14.704,5.106),(14.498,4.596),(14.158,3.85),(14.033,3.6),(10.469,5.416)],
  [(-6.399,20.604),(-6.739,20.375),(-7.234,20.009),(-7.709,19.618),(-8.162,19.202),(-8.452,18.912),(-8.868,18.459),(-9.259,17.984),(-9.506,17.656),(-9.741,17.32),(-10.072,16.802),(-10.375,16.266),(-10.561,15.901),(-10.816,15.341),(-11.041,14.769),(-11.237,14.185),(-11.35,13.791),(-11.449,13.393),(-11.571,12.79),(-11.636,12.385),(-11.705,11.774),(-11.734,11.365),(-11.75,10.75),(-11.734,10.135),(-11.686,9.522),(-11.636,9.115),(-11.534,8.508),(-11.401,7.907),(-11.237,7.315),(-11.11,6.925),(-10.894,6.348),(-10.649,5.784),(-10.469,5.416),(-14.033,3.6),(-14.388,4.344),(-14.704,5.106),(-15.062,6.145),(-15.282,6.94),(-15.461,7.745),(-15.633,8.831),(-15.712,9.651),(-15.748,10.475),(-15.74,11.3),(-15.69,12.123),(-15.597,12.942),(-15.461,13.755),(-15.282,14.56),(-15.062,15.355),(-14.704,16.394),(-14.388,17.156),(-13.906,18.144),(-13.357,19.096),(-12.742,20.008),(-12.229,20.675),(-6.289,20.675)],
  [(-10.124,22.815),(-9.479,23.329),(-9.034,23.652),(-8.346,24.107),(-7.875,24.39),(-7.15,24.783),(-6.656,25.024),(-6.154,25.248),(-5.387,25.55),(-4.605,25.812),(-4.076,25.963),(-3.275,26.156),(-2.735,26.261),(-1.919,26.383),(-1.373,26.44),(-0.55,26.49),(0,26.5),(0.55,26.49),(1.373,26.44),(1.919,26.383),(2.735,26.261),(3.275,26.156),(4.076,25.963),(4.605,25.812),(5.387,25.55),(6.154,25.248),(6.656,25.024),(7.15,24.783),(7.875,24.39),(8.346,24.107),(9.034,23.652),(9.697,23.161),(10.23,22.725),(-10.23,22.725)])
R(ringmodulator, M1_DRW_33_3, [(-5,26,5,36)])
P(ringmodulator, M1_DRW_33_3, [(0,10.75),(-7.168,5.731),(-7.339,5.984),(-7.578,6.375),(-7.796,6.778),(-7.994,7.191),(-8.169,7.614),(-8.322,8.046),(-8.452,8.485),(-8.617,9.231),(-8.717,9.987),(-8.745,10.445),(-8.749,10.903),(-8.729,11.36),(-8.685,11.816),(-8.559,12.569),(-8.368,13.308),(-8.222,13.743),(-8.055,14.169),(-7.865,14.586),(-7.653,14.992),(-7.421,15.387),(-7.168,15.769),(-6.895,16.137),(-6.604,16.491),(-6.078,17.044),(-5.507,17.55),(-5.143,17.829),(-4.766,18.089),(-4.375,18.328),(-3.972,18.546),(-3.559,18.744),(-3.136,18.919),(-2.704,19.072),(-2.265,19.202),(-1.519,19.367),(-0.763,19.467),(-0.305,19.495),(0.153,19.499),(0.61,19.479),(1.066,19.435),(1.819,19.309),(2.558,19.118),(2.993,18.972),(3.419,18.805),(3.836,18.615),(4.242,18.403),(4.637,18.171),(5.019,17.918),(5.387,17.645),(5.741,17.354),(6.294,16.828),(6.8,16.257),(7.079,15.893),(7.339,15.516),(7.726,14.858),(7.994,14.309),(8.222,13.743),(8.411,13.162),(8.559,12.569),(8.665,11.968),(8.729,11.36),(8.749,10.597),(8.717,9.987),(8.617,9.231),(8.49,8.633),(8.322,8.046),(8.113,7.472),(7.865,6.914),(7.578,6.375),(7.168,5.731)],
  [(9.643,4.956),(10.024,5.643),(10.356,6.354),(10.637,7.087),(10.867,7.838),(11.043,8.603),(11.166,9.379),(11.234,10.161),(11.248,10.946),(11.207,11.73),(11.111,12.51),(10.962,13.281),(10.758,14.039),(10.503,14.782),(10.196,15.504),(9.839,16.204),(9.435,16.877),(8.985,17.52),(8.49,18.131),(7.955,18.705),(7.381,19.24),(6.77,19.735),(6.127,20.185),(5.454,20.589),(4.754,20.946),(4.032,21.253),(3.289,21.508),(2.531,21.712),(1.76,21.861),(0.98,21.957),(0.196,21.998),(-0.589,21.984),(-1.371,21.916),(-1.954,21.829),(-2.531,21.712),(-3.101,21.564),(-3.663,21.387),(-4.214,21.181),(-4.754,20.946),(-5.282,20.683),(-5.794,20.393),(-6.291,20.077),(-6.77,19.735),(-7.231,19.368),(-7.672,18.978),(-8.092,18.565),(-8.49,18.131),(-8.985,17.52),(-9.327,17.041),(-9.743,16.375),(-10.111,15.682),(-10.431,14.964),(-10.699,14.226),(-10.916,13.472),(-11.079,12.704),(-11.188,11.926),(-11.243,11.143),(-11.243,10.357),(-11.207,9.77),(-11.166,9.379),(-11.043,8.603),(-10.867,7.838),(-10.637,7.087),(-10.356,6.354),(-10.024,5.643),(-9.643,4.956),(-14.786,1.866),(-15.231,2.652),(-15.504,3.188),(-15.759,3.734),(-15.994,4.288),(-16.21,4.85),(-16.406,5.419),(-16.582,5.995),(-16.738,6.577),(-16.873,7.163),(-16.988,7.755),(-17.082,8.349),(-17.156,8.947),(-17.208,9.547),(-17.24,10.148),(-17.25,10.75),(-17.24,11.352),(-17.208,11.953),(-17.156,12.553),(-17.082,13.151),(-16.988,13.745),(-16.873,14.337),(-16.738,14.923),(-16.582,15.505),(-16.406,16.081),(-16.21,16.65),(-15.994,17.212),(-15.759,17.766),(-15.504,18.312),(-15.231,18.848),(-14.786,19.634),(-14.301,20.396),(-13.777,21.131),(-13.406,21.606),(-12.819,22.293),(-12.198,22.948),(-11.765,23.366),(-11.088,23.964),(-10.381,24.527),(-9.646,25.051),(-8.884,25.536),(-8.098,25.981),(-7.29,26.384),(-6.74,26.629),(-5.9,26.96),(-5.043,27.246),(-4.173,27.488),(-3.291,27.683),(-2.401,27.832),(-1.503,27.934),(-0.602,27.99),(0.301,27.997),(1.203,27.958),(1.803,27.906),(2.699,27.788),(3.587,27.623),(4.173,27.488),(5.043,27.246),(5.9,26.96),(6.74,26.629),(7.29,26.384),(8.098,25.981),(8.884,25.536),(9.646,25.051),(10.139,24.706),(10.62,24.343),(11.317,23.769),(11.765,23.366),(12.198,22.948),(12.616,22.515),(13.019,22.067),(13.406,21.606),(13.777,21.131),(14.301,20.396),(14.629,19.891),(14.939,19.375),(15.37,18.581),(15.634,18.04),(15.879,17.49),(16.21,16.65),(16.406,16.081),(16.582,15.505),(16.738,14.923),(16.873,14.337),(17.038,13.449),(17.156,12.553),(17.208,11.953),(17.24,11.352),(17.24,10.148),(17.208,9.547),(17.156,8.947),(17.082,8.349),(16.988,7.755),(16.873,7.163),(16.738,6.577),(16.582,5.995),(16.406,5.419),(16.21,4.85),(15.879,4.01),(15.634,3.46),(15.37,2.919),(15.087,2.387),(14.786,1.866)],
  [(4.375,10.75),(4.351,11.207),(4.295,11.585),(4.206,11.956),(4.056,12.389),(3.863,12.804),(3.669,13.133),(3.448,13.444),(3.094,13.844),(2.694,14.198),(2.383,14.419),(2.054,14.613),(1.639,14.806),(1.206,14.956),(0.835,15.045),(0.457,15.101),(0,15.125),(-0.457,15.101),(-0.835,15.045),(-1.206,14.956),(-1.639,14.806),(-2.054,14.613),(-2.383,14.419),(-2.694,14.198),(-3.094,13.844),(-3.448,13.444),(-3.669,13.133),(-3.863,12.804),(-4.056,12.389),(-4.206,11.956),(-4.295,11.585),(-4.351,11.207),(-4.375,10.75),(-4.351,10.293),(-4.295,9.915),(-4.206,9.544),(-4.056,9.111),(-3.863,8.696),(-3.669,8.367),(-3.448,8.056),(-3.094,7.656),(-2.694,7.302),(-2.383,7.081),(-2.054,6.887),(-1.639,6.694),(-1.206,6.544),(-0.835,6.455),(-0.457,6.399),(0,6.375),(0.457,6.399),(0.835,6.455),(1.206,6.544),(1.639,6.694),(2.054,6.887),(2.383,7.081),(2.694,7.302),(3.094,7.656),(3.448,8.056),(3.669,8.367),(3.863,8.696),(4.056,9.111),(4.206,9.544),(4.295,9.915),(4.351,10.293)])
R(ringmodulator, VIA1_DRW_34_3, [(-1,9.75,1,11.75), (-2.5,28.5,2.5,33.5)])
R(ringmodulator, M2_DRW_35_3, [(-2.5,8.25,2.5,13.25), (-5,26,5,36)])
R(ringmodulator, VIA2_DRW_36_3, [(-1,9.75,1,11.75), (-2.5,28.5,2.5,33.5)])
R(ringmodulator, MT_DRW_43_3, [(-2.5,8.25,2.5,13.25), (-5,26,5,36)])
R(ringmodulator, PINREC_NOTE_70_30, [(-9.829,-10.275,-4.829,-5.275), (4.829,-10.275,9.829,-5.275), (-1,9.75,1,11.75), (-5,26,5,36)])
R(ringmodulator, PINREC_FWG_70_31, [(-22.25,-0.275,-21.95,0.275), (21.95,-0.275,22.25,0.275), (-22.25,21.425,-21.95,21.975), (21.95,21.425,22.25,21.975)])
ringmodulator.add(gdstk.Reference(ringfilter, (0,0)))
ringmodulator.add(gdstk.Label('op_0', (-22.25,21.7), layer=70, texttype=41))
ringmodulator.add(gdstk.Label('op_1', (-22.25,0), layer=70, texttype=41))
ringmodulator.add(gdstk.Label('op_2', (22.25,0), layer=70, texttype=41))
ringmodulator.add(gdstk.Label('op_3', (22.25,21.7), layer=70, texttype=41))
ringmodulator.add(gdstk.Label('ep_0', (-7.329,-7.775), layer=70, texttype=41))
ringmodulator.add(gdstk.Label('ep_1', (7.329,-7.775), layer=70, texttype=41))
ringmodulator.add(gdstk.Label('ep_2', (0,10.75), layer=70, texttype=41))
ringmodulator.add(gdstk.Label('ep_3', (0,31), layer=70, texttype=41))

lib.write_gds('RingModulator.gds')
